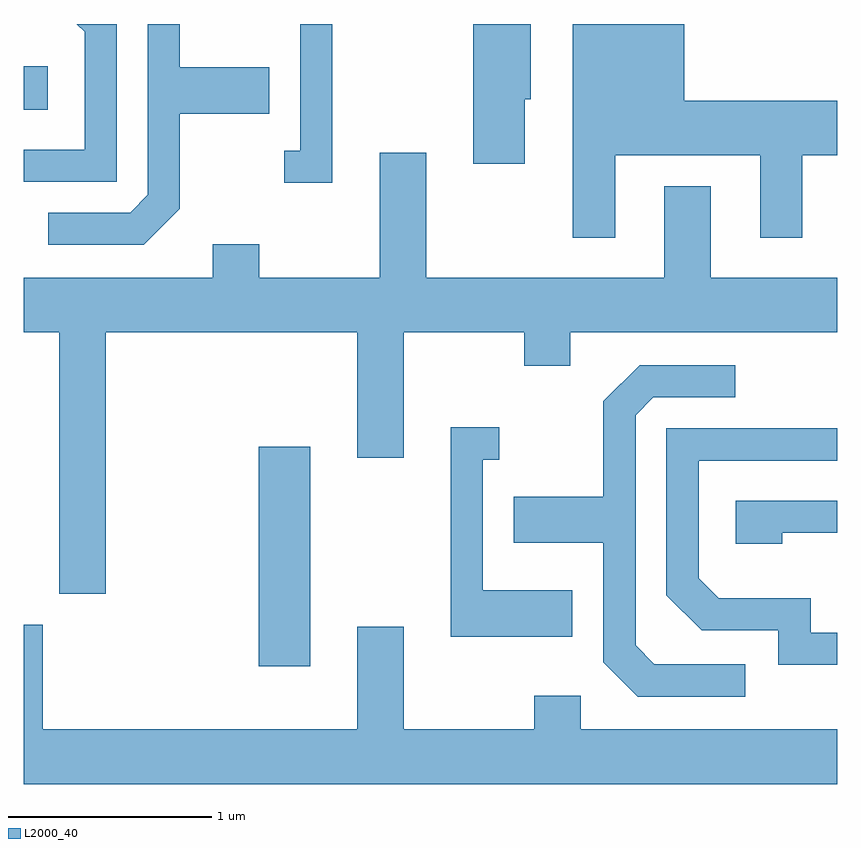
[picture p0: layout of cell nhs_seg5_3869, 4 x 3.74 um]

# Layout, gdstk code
import gdstk
lib = gdstk.Library(unit=1e-6, precision=1e-09)
def R(c, l, rs):  # rectangles x0, y0, x1, y1
    for r in rs: c.add(gdstk.rectangle(r[:2], r[2:], *l))
def P(c, l, *ps):  # polygons
    for p in ps: c.add(gdstk.Polygon(p, *l))
L2000_40 = (2000, 40)

nhs_seg5_3869 = lib.new_cell('nhs_seg5_3869')
R(nhs_seg5_3869, L2000_40, [(300.766,1472.916,301.019,1473.994), (299.611,1475.651,299.729,1475.864)])
P(nhs_seg5_3869, L2000_40, [(302.074,1475.701),(302.104,1475.701),(302.104,1476.072),(301.821,1476.072),(301.821,1475.386),(302.074,1475.386)],
  [(300.069,1476.072),(299.873,1476.072),(299.911,1476.034),(299.911,1475.454),(299.611,1475.454),(299.611,1475.296),(300.069,1475.296)],
  [(302.519,1475.426),(303.231,1475.426),(303.231,1475.021),(303.439,1475.021),(303.439,1475.426),(303.611,1475.426),(303.611,1475.694),(302.859,1475.694),(302.859,1476.072),(302.311,1476.072),(302.311,1475.021),(302.519,1475.021)],
  [(300.379,1475.164),(300.379,1475.631),(300.819,1475.631),(300.819,1475.859),(300.379,1475.859),(300.379,1476.072),(300.221,1476.072),(300.221,1475.232),(300.134,1475.144),(299.733,1475.144),(299.733,1474.986),(300.202,1474.986)],
  [(301.129,1476.072),(300.971,1476.072),(300.971,1475.449),(300.893,1475.449),(300.893,1475.291),(301.129,1475.291)],
  [(300.014,1474.556),(301.251,1474.556),(301.251,1473.941),(301.479,1473.941),(301.479,1474.556),(302.071,1474.556),(302.071,1474.391),(302.299,1474.391),(302.299,1474.556),(303.611,1474.556),(303.611,1474.824),(302.989,1474.824),(302.989,1475.274),(302.761,1475.274),(302.761,1474.824),(301.589,1474.824),(301.589,1475.439),(301.361,1475.439),(301.361,1474.824),(300.769,1474.824),(300.769,1474.989),(300.541,1474.989),(300.541,1474.824),(299.611,1474.824),(299.611,1474.556),(299.786,1474.556),(299.786,1473.271),(300.014,1473.271)],
  [(303.158,1472.924),(302.712,1472.924),(302.619,1473.017),(302.619,1474.149),(302.707,1474.236),(303.108,1474.236),(303.108,1474.394),(302.639,1474.394),(302.461,1474.217),(302.461,1473.749),(302.021,1473.749),(302.021,1473.521),(302.461,1473.521),(302.461,1472.934),(302.629,1472.766),(303.158,1472.766)],
  [(302.309,1473.289),(301.869,1473.289),(301.869,1473.931),(301.948,1473.931),(301.948,1474.089),(301.711,1474.089),(301.711,1473.061),(302.309,1473.061)],
  [(303.611,1473.079),(303.479,1473.079),(303.479,1473.249),(303.027,1473.249),(302.929,1473.347),(302.929,1473.926),(303.611,1473.926),(303.611,1474.084),(302.771,1474.084),(302.771,1473.264),(302.944,1473.091),(303.321,1473.091),(303.321,1472.921),(303.611,1472.921)],
  [(303.339,1473.571),(303.611,1473.571),(303.611,1473.729),(303.111,1473.729),(303.111,1473.516),(303.339,1473.516)],
  [(303.611,1472.604),(302.349,1472.604),(302.349,1472.769),(302.121,1472.769),(302.121,1472.604),(301.479,1472.604),(301.479,1473.109),(301.251,1473.109),(301.251,1472.604),(299.704,1472.604),(299.704,1473.119),(299.611,1473.119),(299.611,1472.336),(303.611,1472.336)])

lib.write_gds('nhs_seg5_3869.gds')
